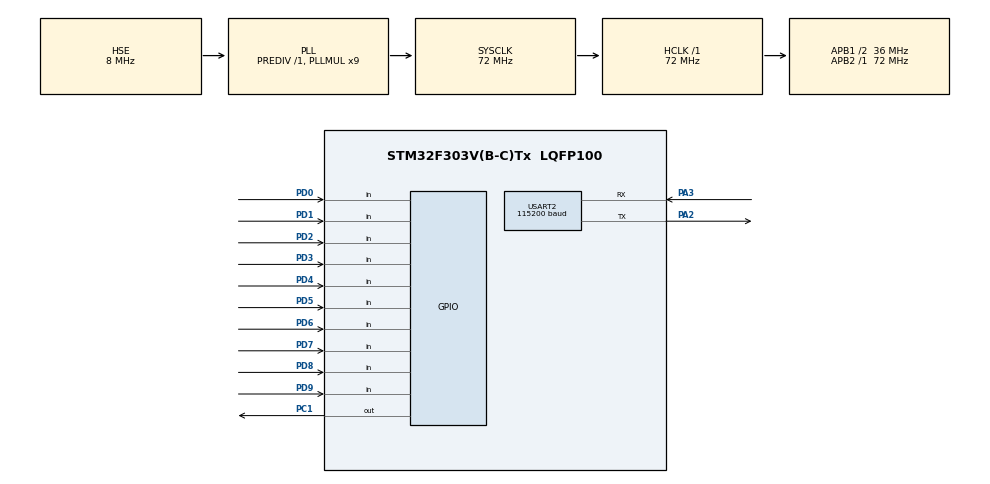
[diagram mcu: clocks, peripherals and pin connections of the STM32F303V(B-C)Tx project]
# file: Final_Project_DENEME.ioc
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Mcu.Family=STM32F3
Mcu.Name=STM32F303V(B-C)Tx
Mcu.Package=LQFP100
NVIC.PriorityGroup=NVIC_PRIORITYGROUP_0
PA13.Mode=Serial_Wire
PA13.Signal=SYS_JTMS-SWDIO
PA14.Mode=Serial_Wire
PA14.Signal=SYS_JTCK-SWCLK
PA2.Mode=Asynchronous
PA2.Signal=USART2_TX
PA3.Mode=Asynchronous
PA3.Signal=USART2_RX
PC1.GPIO_Speed=GPIO_SPEED_FREQ_MEDIUM
PC1.PinState=GPIO_PIN_SET
PC1.Signal=GPIO_Output
PD0.GPIO_PuPd=GPIO_PULLDOWN
PD0.Signal=GPIO_Input
PD1.GPIO_PuPd=GPIO_PULLDOWN
PD1.Signal=GPIO_Input
PD2.GPIO_PuPd=GPIO_PULLDOWN
PD2.Signal=GPIO_Input
PD3.GPIO_PuPd=GPIO_PULLDOWN
PD3.Signal=GPIO_Input
PD4.GPIO_PuPd=GPIO_PULLDOWN
PD4.Signal=GPIO_Input
PD5.GPIO_Mode=GPIO_MODE_INPUT
PD5.GPIO_PuPd=GPIO_PULLDOWN
PD5.Signal=GPIO_Input
PD6.GPIO_PuPd=GPIO_PULLDOWN
PD6.Signal=GPIO_Input
PD7.GPIO_PuPd=GPIO_PULLDOWN
PD7.Signal=GPIO_Input
PD8.GPIO_PuPd=GPIO_PULLDOWN
PD8.Signal=GPIO_Input
PD9.GPIO_PuPd=GPIO_PULLDOWN
PD9.Signal=GPIO_Input
PF0-OSC_IN.Mode=HSE-External-Oscillator
PF0-OSC_IN.Signal=RCC_OSC_IN
PF1-OSC_OUT.Mode=HSE-External-Oscillator
PF1-OSC_OUT.Signal=RCC_OSC_OUT
ProjectManager.HeapSize=0x200
ProjectManager.StackSize=0x400
ProjectManager.TargetToolchain=STM32CubeIDE
RCC.AHBFreq_Value=72000000
RCC.APB1CLKDivider=RCC_HCLK_DIV2
RCC.APB1Freq_Value=36000000
RCC.APB1TimFreq_Value=72000000
RCC.APB2Freq_Value=72000000
RCC.APB2TimFreq_Value=72000000
RCC.CortexFreq_Value=72000000
RCC.HCLKFreq_Value=72000000
RCC.HSE_VALUE=8000000
RCC.HSI_VALUE=8000000
RCC.LSE_VALUE=32768
RCC.PLLMUL=RCC_PLL_MUL9
RCC.PLLSourceVirtual=RCC_PLLSOURCE_HSE
RCC.SYSCLKFreq_VALUE=72000000
RCC.SYSCLKSourceVirtual=RCC_SYSCLKSOURCE_PLLCLK
RCC.USBFreq_Value=72000000
USART2.BaudRate=115200
USART2.VirtualMode-Asynchronous=VM_ASYNC
board=STM32F3DISCOVERY

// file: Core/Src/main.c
/* USER CODE BEGIN Header */
/**
  ******************************************************************************
  * @file           : main.c
  * @brief          : Main program body
  ******************************************************************************
  * @attention
  *
  * Copyright (c) 2023 STMicroelectronics.
  * All rights reserved.
  *
  * This software is licensed under terms that can be found in the LICENSE file
  * in the root directory of this software component.
  * If no LICENSE file comes with this software, it is provided AS-IS.
  *
  ******************************************************************************
  */
/* USER CODE END Header */
#include "main.h"

/* USER CODE BEGIN Includes */
#include <stdio.h>
#include <stdlib.h>
/* USER CODE END Includes */

/* USER CODE BEGIN PM */

#define SAMPLE 64

/* USER CODE END PM */

 UART_HandleTypeDef huart2;

/* USER CODE BEGIN PV */

uint32_t time;
int count=0;
int i=0;
uint16_t buttonstate[SAMPLE];
char buffer[6];

/* USER CODE END PV */

void SystemClock_Config(void);
static void MX_GPIO_Init(void);
static void MX_USART2_UART_Init(void);
void delay(uint32_t time);
void delay_0_5us(void);
void delay_us(uint32_t us);

int main(void)
{

  /* MCU Configuration--------------------------------------------------------*/

  /* Reset of all peripherals, Initializes the Flash interface and the Systick. */
  HAL_Init();

  /* Configure the system clock */
  SystemClock_Config();

  /* Initialize all configured peripherals */
  MX_GPIO_Init();
  MX_USART2_UART_Init();

  /* Infinite loop */
  while (1)
  {

    /* USER CODE BEGIN 3 */

		buttonstate[count]=GPIOD->IDR;
		buttonstate[count] &= 0x3FF;

		delay_us(0.05);

		count = count + 1 ;

		if(count==SAMPLE){

			for(i=0;i<SAMPLE;i++){

				itoa (buttonstate[i],buffer,10);
				HAL_UART_Transmit(&huart2, (uint8_t*)buffer, sprintf(buffer, "%s " , buffer ), 1000);
			}

			break;
		}

  }
  /* USER CODE END 3 */
}

void SystemClock_Config(void)
{
  RCC_OscInitTypeDef RCC_OscInitStruct = {0};
  RCC_ClkInitTypeDef RCC_ClkInitStruct = {0};
  RCC_PeriphCLKInitTypeDef PeriphClkInit = {0};

  /** Initializes the RCC Oscillators according to the specified parameters
  * in the RCC_OscInitTypeDef structure.
  */
  RCC_OscInitStruct.OscillatorType = RCC_OSCILLATORTYPE_HSE;
  RCC_OscInitStruct.HSEState = RCC_HSE_ON;
  RCC_OscInitStruct.HSEPredivValue = RCC_HSE_PREDIV_DIV1;
  RCC_OscInitStruct.HSIState = RCC_HSI_ON;
  RCC_OscInitStruct.PLL.PLLState = RCC_PLL_ON;
  RCC_OscInitStruct.PLL.PLLSource = RCC_PLLSOURCE_HSE;
  RCC_OscInitStruct.PLL.PLLMUL = RCC_PLL_MUL9;
  if (HAL_RCC_OscConfig(&RCC_OscInitStruct) != HAL_OK)
  {
    Error_Handler();
  }

  /** Initializes the CPU, AHB and APB buses clocks
  */
  RCC_ClkInitStruct.ClockType = RCC_CLOCKTYPE_HCLK|RCC_CLOCKTYPE_SYSCLK
                              |RCC_CLOCKTYPE_PCLK1|RCC_CLOCKTYPE_PCLK2;
  RCC_ClkInitStruct.SYSCLKSource = RCC_SYSCLKSOURCE_PLLCLK;
  RCC_ClkInitStruct.AHBCLKDivider = RCC_SYSCLK_DIV1;
  RCC_ClkInitStruct.APB1CLKDivider = RCC_HCLK_DIV2;
  RCC_ClkInitStruct.APB2CLKDivider = RCC_HCLK_DIV1;

  if (HAL_RCC_ClockConfig(&RCC_ClkInitStruct, FLASH_LATENCY_2) != HAL_OK)
  {
    Error_Handler();
  }
  PeriphClkInit.PeriphClockSelection = RCC_PERIPHCLK_USART2;
  PeriphClkInit.Usart2ClockSelection = RCC_USART2CLKSOURCE_PCLK1;
  if (HAL_RCCEx_PeriphCLKConfig(&PeriphClkInit) != HAL_OK)
  {
    Error_Handler();
  }
}

static void MX_USART2_UART_Init(void)
{

  huart2.Instance = USART2;
  huart2.Init.BaudRate = 115200;
  huart2.Init.WordLength = UART_WORDLENGTH_8B;
  huart2.Init.StopBits = UART_STOPBITS_1;
  huart2.Init.Parity = UART_PARITY_NONE;
  huart2.Init.Mode = UART_MODE_TX_RX;
  huart2.Init.HwFlowCtl = UART_HWCONTROL_NONE;
  huart2.Init.OverSampling = UART_OVERSAMPLING_16;
  huart2.Init.OneBitSampling = UART_ONE_BIT_SAMPLE_DISABLE;
  huart2.AdvancedInit.AdvFeatureInit = UART_ADVFEATURE_NO_INIT;
  if (HAL_UART_Init(&huart2) != HAL_OK)
  {
    Error_Handler();
  }

}

static void MX_GPIO_Init(void)
{
  GPIO_InitTypeDef GPIO_InitStruct = {0};

  /* GPIO Ports Clock Enable */
  __HAL_RCC_GPIOF_CLK_ENABLE();
  __HAL_RCC_GPIOC_CLK_ENABLE();
  __HAL_RCC_GPIOA_CLK_ENABLE();
  __HAL_RCC_GPIOD_CLK_ENABLE();

  /*Configure GPIO pin Output Level */
  HAL_GPIO_WritePin(GPIOC, GPIO_PIN_1, GPIO_PIN_SET);

  /*Configure GPIO pin : PC1 */
  GPIO_InitStruct.Pin = GPIO_PIN_1;
  GPIO_InitStruct.Mode = GPIO_MODE_OUTPUT_PP;
  GPIO_InitStruct.Pull = GPIO_NOPULL;
  GPIO_InitStruct.Speed = GPIO_SPEED_FREQ_MEDIUM;
  HAL_GPIO_Init(GPIOC, &GPIO_InitStruct);

  /*Configure GPIO pins : PD8 PD9 PD0 PD1
                           PD2 PD3 PD4 PD5
                           PD6 PD7 */
  GPIO_InitStruct.Pin = GPIO_PIN_8|GPIO_PIN_9|GPIO_PIN_0|GPIO_PIN_1
                          |GPIO_PIN_2|GPIO_PIN_3|GPIO_PIN_4|GPIO_PIN_5
                          |GPIO_PIN_6|GPIO_PIN_7;
  GPIO_InitStruct.Mode = GPIO_MODE_INPUT;
  GPIO_InitStruct.Pull = GPIO_PULLDOWN;
  GPIO_InitStruct.Speed = GPIO_SPEED_FREQ_HIGH;
  HAL_GPIO_Init(GPIOD, &GPIO_InitStruct);

}

/* USER CODE BEGIN 4 */

void delay(uint32_t time)
{
	while(time--);//8 cycle -> 72mHz -> time=9 -> 0.000001sn = 1usn

}

void delay_0_5us(void)
{
  // Set the core frequency to 72 MHz
  const uint32_t CORE_FREQUENCY = 72 * 1000 * 1000;

  // Calculate the number of cycles required to achieve a 0.5 us delay
  // The processor has a 1 cycle per instruction overhead, so we need to subtract 1 from the calculation
  uint32_t cycles_per_0_5us = CORE_FREQUENCY / 2000 - 1;

  // Create the delay by executing a loop that consumes the required number of cycles
  __asm__ __volatile__ (
    "1: \n"
    " sub %0, %0, #1 \n"  // 1 cycle
    " cmp %0, #0 \n"      // 1 cycle
    " bne 1b \n"          // 2 cycles if taken
    : "+r" (cycles_per_0_5us)  // Input and output operand
    :                      // No input operand
    :                      // No clobbered register
  );
}

void delay_us(uint32_t us)
{
    // Set the number of clock cycles to delay
    uint32_t cycles = us * 72;

    // Set the number of loop iterations to delay
    uint32_t i;

    // Enter a loop that delays for the specified number of clock cycles
    for (i = 0; i < cycles; i++)
    {
        __NOP();
    }
}

/* USER CODE END 4 */

void Error_Handler(void)
{
  __disable_irq();
  while (1)
  {
  }
}
